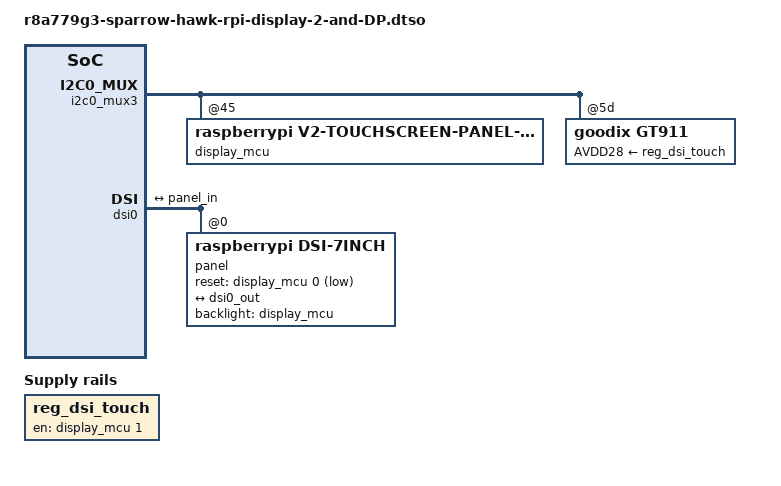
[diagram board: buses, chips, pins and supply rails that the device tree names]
// SPDX-License-Identifier: (GPL-2.0-only OR BSD-2-Clause)
/*
 * Device Tree Overlay for the RPi Display 2 MIPI DSI panel connected to J4:DSI
 * on R-Car V4H ES3.0 Sparrow Hawk board
 *
 * Copyright (C) 2025 Marek Vasut <marek.vasut+renesas@mailbox.org>
 *
 */

/dts-v1/;
/plugin/;

#include <dt-bindings/gpio/gpio.h>

/*
 * Adapted from https://github.com/raspberrypi/linux
 * arch/arm/boot/dts/overlays/vc4-kms-dsi-ili9881-7inch-overlay.dts
 * branch rpi-6.14.y
 * commit 9a10dd34ce58 ("BCM2708: Add core Device Tree support")
 */
&{/} {
	reg_dsi_touch: regulator-dsi-touch {
		compatible = "regulator-fixed";
		regulator-name = "touch_reg_1";
		gpio = <&display_mcu 1 GPIO_ACTIVE_HIGH>;
		startup-delay-us = <50000>;
		enable-active-high;
	};
};

&i2c0_mux3 {
	#address-cells = <1>;
	#size-cells = <0>;

	display_mcu: display_mcu@45 {
		compatible = "raspberrypi,v2-touchscreen-panel-regulator";
		reg = <0x45>;
		gpio-controller;
		#gpio-cells = <2>;
	};

	gt911: gt911@5d {
		compatible = "goodix,gt911";
		reg = <0x5d>;
		AVDD28-supply = <&reg_dsi_touch>;
		touchscreen-size-x = <720>;
		touchscreen-size-y = <1280>;
		touchscreen-x-mm = <90>;
		touchscreen-y-mm = <151>;
	};
};

&dsi0 {
	#address-cells = <1>;
	#size-cells = <0>;
	status = "okay";

	ports {
		#address-cells = <1>;
		#size-cells = <0>;

		port@1 {
			reg = <1>;

			dsi0_out: endpoint {
				remote-endpoint = <&panel_in>;
				data-lanes = <1 2>;
			};
		};
	};

	panel@0 {
		reg = <0>;
		compatible = "raspberrypi,dsi-7inch";
		reset-gpio = <&display_mcu 0 GPIO_ACTIVE_LOW>;
		backlight = <&display_mcu>;

		port {
			panel_in: endpoint {
				remote-endpoint = <&dsi0_out>;
			};
		};
	};
};

